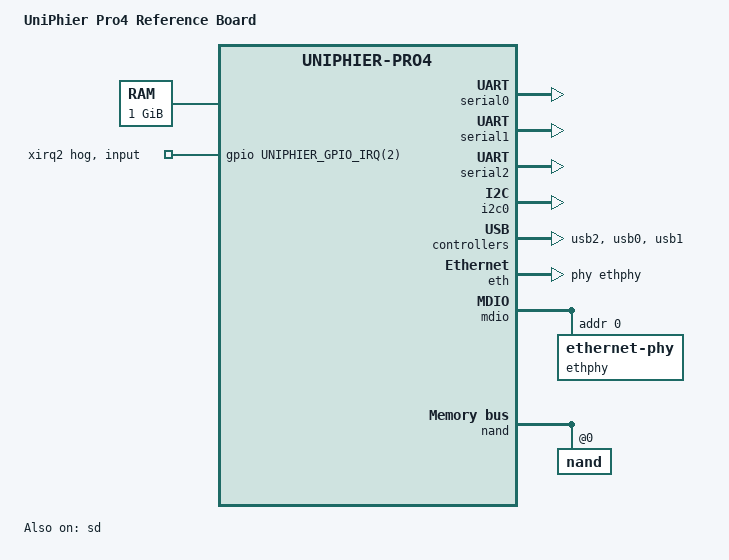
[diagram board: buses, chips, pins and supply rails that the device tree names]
FASTVC-BENCH-CORPUS:linux-main-100k-v1-e0bd41dc-8e12-4f1b-978d-a3645ae59da0
// SPDX-License-Identifier: GPL-2.0+ OR MIT
//
// Device Tree Source for UniPhier Pro4 Reference Board
//
// Copyright (C) 2015-2016 Socionext Inc.
//   Author: Masahiro Yamada <yamada.masahiro@socionext.com>

/dts-v1/;
#include "uniphier-pro4.dtsi"
#include "uniphier-ref-daughter.dtsi"
#include "uniphier-support-card.dtsi"

/ {
	model = "UniPhier Pro4 Reference Board";
	compatible = "socionext,uniphier-pro4-ref", "socionext,uniphier-pro4";

	chosen {
		stdout-path = "serial0:115200n8";
	};

	aliases {
		serial0 = &serial0;
		serial1 = &serial1;
		serial2 = &serial2;
		serial3 = &serialsc;
		i2c0 = &i2c0;
		i2c1 = &i2c1;
		i2c2 = &i2c2;
		i2c3 = &i2c3;
		i2c5 = &i2c5;
		i2c6 = &i2c6;
		ethernet0 = &eth;
	};

	memory@80000000 {
		device_type = "memory";
		reg = <0x80000000 0x40000000>;
	};
};

&ethsc {
	interrupts = <2 8>;
};

&serialsc {
	interrupts = <2 8>;
};

&serial0 {
	status = "okay";
};

&serial1 {
	status = "okay";
};

&serial2 {
	status = "okay";
};

&gpio {
	xirq2 {
		gpio-hog;
		gpios = <UNIPHIER_GPIO_IRQ(2) 0>;
		input;
	};
};

&i2c0 {
	status = "okay";
};

&sd {
	status = "okay";
};

&usb2 {
	status = "okay";
/* bench 24705.0.0 32d93f694a68 */
/* bench 24705.0.1 7d673723d63a */
/* bench 24705.0.2 52572be3c501 */
/* bench 24705.0.3 70b17ce50e4a */
/* bench 24705.0.4 8aaf192b3082 */
/* bench 24705.0.5 8c5ba8c0e08f */
/* bench 24705.0.6 5856996569c3 */
/* bench 24705.0.7 47f03cb556ef */
	status = "okay";
};

&eth {
	status = "okay";
	phy-handle = <&ethphy>;
};

&mdio {
	ethphy: ethernet-phy@0 {
		reg = <0>;
	};
};

&usb0 {
	status = "okay";
};

&usb1 {
	status = "okay";
};

&nand {
	status = "okay";

	nand@0 {
		reg = <0>;
	};
};
